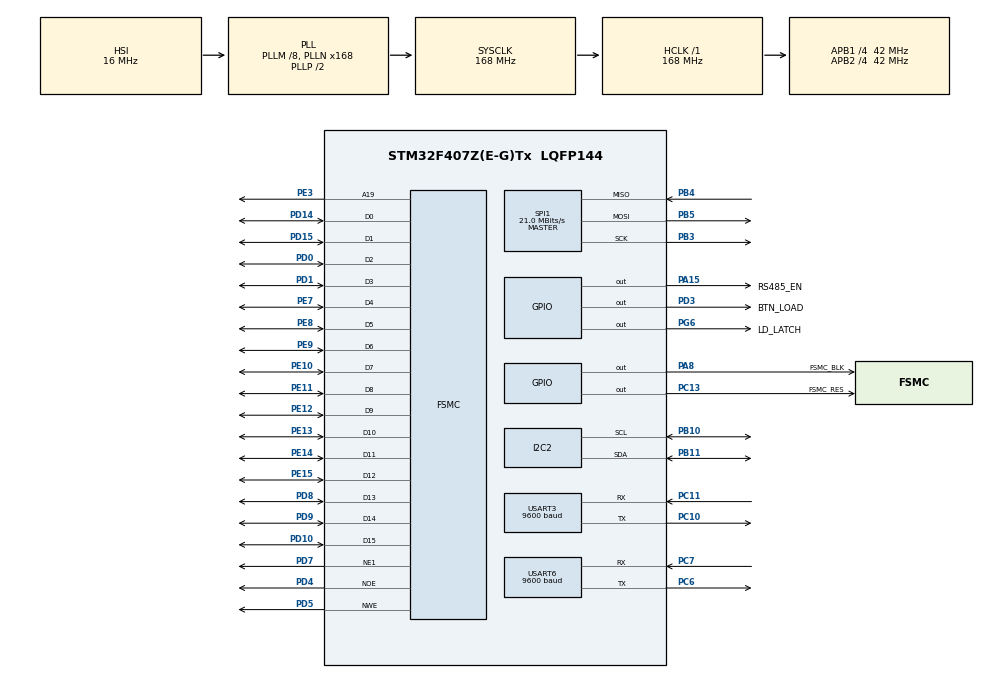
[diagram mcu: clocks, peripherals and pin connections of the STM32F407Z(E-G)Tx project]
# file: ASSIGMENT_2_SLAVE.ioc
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Dma.I2C2_RX.1.Direction=DMA_PERIPH_TO_MEMORY
Dma.I2C2_RX.1.FIFOMode=DMA_FIFOMODE_DISABLE
Dma.I2C2_RX.1.Instance=DMA1_Stream2
Dma.I2C2_RX.1.MemDataAlignment=DMA_MDATAALIGN_BYTE
Dma.I2C2_RX.1.MemInc=DMA_MINC_ENABLE
Dma.I2C2_RX.1.Mode=DMA_CIRCULAR
Dma.I2C2_RX.1.PeriphDataAlignment=DMA_PDATAALIGN_BYTE
Dma.I2C2_RX.1.PeriphInc=DMA_PINC_DISABLE
Dma.I2C2_RX.1.Priority=DMA_PRIORITY_HIGH
Dma.Request0=USART6_RX
Dma.Request1=I2C2_RX
Dma.USART6_RX.0.Direction=DMA_PERIPH_TO_MEMORY
Dma.USART6_RX.0.FIFOMode=DMA_FIFOMODE_DISABLE
Dma.USART6_RX.0.Instance=DMA2_Stream1
Dma.USART6_RX.0.MemDataAlignment=DMA_MDATAALIGN_BYTE
Dma.USART6_RX.0.MemInc=DMA_MINC_ENABLE
Dma.USART6_RX.0.Mode=DMA_CIRCULAR
Dma.USART6_RX.0.PeriphDataAlignment=DMA_PDATAALIGN_BYTE
Dma.USART6_RX.0.PeriphInc=DMA_PINC_DISABLE
Dma.USART6_RX.0.Priority=DMA_PRIORITY_LOW
FSMC.AddressSetupTime1=0xf
FSMC.BusTurnAroundDuration1=0
FSMC.DataSetupTime1=60
FSMC.ExtendedAddressSetupTime1=8
FSMC.ExtendedBusTurnAroundDuration1=0
FSMC.ExtendedDataSetupTime1=9
FSMC.ExtendedMode1=FSMC_EXTENDED_MODE_ENABLE
I2C2.OwnAddress=48
Mcu.Family=STM32F4
Mcu.Name=STM32F407Z(E-G)Tx
Mcu.Package=LQFP144
NVIC.DMA1_Stream2_IRQn=true\:0\:0\:false\:false\:true\:false\:true\:true
NVIC.DMA2_Stream1_IRQn=true\:0\:0\:false\:false\:true\:false\:true\:true
NVIC.I2C2_ER_IRQn=true\:0\:0\:false\:false\:true\:true\:true\:true
NVIC.I2C2_EV_IRQn=true\:0\:0\:false\:false\:true\:true\:true\:true
NVIC.PriorityGroup=NVIC_PRIORITYGROUP_4
NVIC.TIM2_IRQn=true\:0\:0\:false\:false\:true\:true\:true\:true
NVIC.USART3_IRQn=true\:0\:0\:false\:false\:true\:true\:true\:true
NVIC.USART6_IRQn=true\:0\:0\:false\:false\:true\:true\:true\:true
PA13.Mode=Serial_Wire
PA13.Signal=SYS_JTMS-SWDIO
PA14.Mode=Serial_Wire
PA14.Signal=SYS_JTCK-SWCLK
PA15.GPIO_Label=RS485_EN
PA15.Signal=GPIO_Output
PA8.GPIO_Label=FSMC_BLK
PA8.Signal=GPIO_Output
PB10.GPIO_Pu=GPIO_PULLUP
PB10.Mode=I2C
PB10.Signal=I2C2_SCL
PB11.GPIO_Pu=GPIO_PULLUP
PB11.Mode=I2C
PB11.Signal=I2C2_SDA
PB3.Mode=Full_Duplex_Master
PB3.Signal=SPI1_SCK
PB4.Mode=Full_Duplex_Master
PB4.Signal=SPI1_MISO
PB5.Mode=Full_Duplex_Master
PB5.Signal=SPI1_MOSI
PC10.Mode=Asynchronous
PC10.Signal=USART3_TX
PC11.Mode=Asynchronous
PC11.Signal=USART3_RX
PC13-ANTI_TAMP.GPIO_Label=FSMC_RES
PC13-ANTI_TAMP.Signal=GPIO_Output
PC6.Mode=Asynchronous
PC6.Signal=USART6_TX
PC7.Mode=Asynchronous
PC7.Signal=USART6_RX
PD0.Signal=FSMC_D2_DA2
PD1.Signal=FSMC_D3_DA3
PD10.Signal=FSMC_D15_DA15
PD14.Signal=FSMC_D0_DA0
PD15.Signal=FSMC_D1_DA1
PD3.GPIO_Label=BTN_LOAD
PD3.Signal=GPIO_Output
PD4.Signal=FSMC_NOE
PD5.Signal=FSMC_NWE
PD7.Mode=NorPsramChipSelect1_1
PD7.Signal=FSMC_NE1
PD8.Signal=FSMC_D13_DA13
PD9.Signal=FSMC_D14_DA14
PE10.Signal=FSMC_D7_DA7
PE11.Signal=FSMC_D8_DA8
PE12.Signal=FSMC_D9_DA9
PE13.Signal=FSMC_D10_DA10
PE14.Signal=FSMC_D11_DA11
PE15.Signal=FSMC_D12_DA12
PE3.Signal=FSMC_A19
PE7.Signal=FSMC_D4_DA4
PE8.Signal=FSMC_D5_DA5
PE9.Signal=FSMC_D6_DA6
PG6.GPIO_Label=LD_LATCH
PG6.Signal=GPIO_Output
PH0-OSC_IN.Mode=HSE-External-Oscillator
PH0-OSC_IN.Signal=RCC_OSC_IN
PH1-OSC_OUT.Mode=HSE-External-Oscillator
PH1-OSC_OUT.Signal=RCC_OSC_OUT
ProjectManager.HeapSize=0x200
ProjectManager.StackSize=0x400
ProjectManager.TargetToolchain=STM32CubeIDE
RCC.48MHZClocksFreq_Value=84000000
RCC.AHBFreq_Value=168000000
RCC.APB1CLKDivider=RCC_HCLK_DIV4
RCC.APB1Freq_Value=42000000
RCC.APB1TimFreq_Value=84000000
RCC.APB2CLKDivider=RCC_HCLK_DIV4
RCC.APB2Freq_Value=42000000
RCC.APB2TimFreq_Value=84000000
RCC.CortexFreq_Value=168000000
RCC.HCLKFreq_Value=168000000
RCC.HSE_VALUE=25000000
RCC.HSI_VALUE=16000000
RCC.LSE_VALUE=32768
RCC.PLLM=8
RCC.PLLN=168
RCC.SYSCLKFreq_VALUE=168000000
RCC.SYSCLKSource=RCC_SYSCLKSOURCE_PLLCLK
RCC.VCOOutputFreq_Value=336000000
SH.FSMC_A19.0=FSMC_A19,A19_1
SH.FSMC_D0_DA0.0=FSMC_D0,16b-d1
SH.FSMC_D10_DA10.0=FSMC_D10,16b-d1
SH.FSMC_D11_DA11.0=FSMC_D11,16b-d1
SH.FSMC_D12_DA12.0=FSMC_D12,16b-d1
SH.FSMC_D13_DA13.0=FSMC_D13,16b-d1
SH.FSMC_D14_DA14.0=FSMC_D14,16b-d1
SH.FSMC_D15_DA15.0=FSMC_D15,16b-d1
SH.FSMC_D1_DA1.0=FSMC_D1,16b-d1
SH.FSMC_D2_DA2.0=FSMC_D2,16b-d1
SH.FSMC_D3_DA3.0=FSMC_D3,16b-d1
SH.FSMC_D4_DA4.0=FSMC_D4,16b-d1
SH.FSMC_D5_DA5.0=FSMC_D5,16b-d1
SH.FSMC_D6_DA6.0=FSMC_D6,16b-d1
SH.FSMC_D7_DA7.0=FSMC_D7,16b-d1
SH.FSMC_D8_DA8.0=FSMC_D8,16b-d1
SH.FSMC_D9_DA9.0=FSMC_D9,16b-d1
SH.FSMC_NOE.0=FSMC_NOE,Lcd1
SH.FSMC_NWE.0=FSMC_NWE,Lcd1
SPI1.CalculateBaudRate=21.0 MBits/s
SPI1.Direction=SPI_DIRECTION_2LINES
SPI1.Mode=SPI_MODE_MASTER
SPI1.VirtualType=VM_MASTER
TIM2.Prescaler=839
USART3.BaudRate=9600
USART3.VirtualMode=VM_ASYNC
USART6.BaudRate=9600
USART6.VirtualMode=VM_ASYNC
VP_TIM2_VS_ClockSourceINT.Mode=Internal
board=custom

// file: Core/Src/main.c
	/* USER CODE BEGIN Header */
/**
  ******************************************************************************
  * @file           : main.c
  * @brief          : Main program body
  ******************************************************************************
  * @attention
  *
  * Copyright (c) 2026 STMicroelectronics.
  * All rights reserved.
  *
  * This software is licensed under terms that can be found in the LICENSE file
  * in the root directory of this software component.
  * If no LICENSE file comes with this software, it is provided AS-IS.
  *
  ******************************************************************************
  */
/* USER CODE END Header */
#include "main.h"
#include "dma.h"
#include "i2c.h"
#include "spi.h"
#include "tim.h"
#include "usart.h"
#include "gpio.h"
#include "fsmc.h"

/* USER CODE BEGIN Includes */
#include "bkit_config.h"
#include "hw_driver.h"
#include "lcd.h"
#include <stdio.h>
#include "bkit_app.h"
/* USER CODE END Includes */

void SystemClock_Config(void);

int main(void)
{

  /* MCU Configuration--------------------------------------------------------*/

  /* Reset of all peripherals, Initializes the Flash interface and the Systick. */
  HAL_Init();

  /* Configure the system clock */
  SystemClock_Config();

  /* Initialize all configured peripherals */
  MX_GPIO_Init();
  MX_DMA_Init();
  MX_USART3_UART_Init();
  MX_FSMC_Init();
  MX_SPI1_Init();
  MX_TIM2_Init();
  MX_I2C2_Init();
  MX_USART6_UART_Init();
  /* USER CODE BEGIN 2 */
  hw_init();

  lcd_init();
    lcd_clear(BLACK);

    lcd_show_string(10, 10,  "=== IoT SLAVE ===", GREEN, BLACK, 24, 0);

    //MODE
    #if (BKIT_PHY_INTERFACE == PHY_UART)
        lcd_show_string(10, 45,  "Link: UART (Active)", CYAN, BLACK, 16, 0);
    #else
        lcd_show_string(10, 45,  "Link: I2C (Active) ", CYAN, BLACK, 16, 0);
    #endif

    lcd_show_string(10, 100, "DEVICE TELEMETRY:", YELLOW, BLACK, 16, 0);
  /* USER CODE END 2 */

  /* Infinite loop */
  /* USER CODE BEGIN WHILE */
  while (1)
  {
	  sensor_data_t received_data;

	        if (bkit_receive_message(&received_data)) {
	            char buf[64];

	            // ID
	            sprintf(buf, "Node ID  : %lu   ", received_data.sensor_id);
	            lcd_show_string(20, 125, buf, WHITE, BLACK, 24, 0);

	            // NHIET DO
	            sprintf(buf, "Temp : %.2f C ", received_data.temperature);
	            lcd_show_string(20, 155, buf, RED, BLACK, 24, 0);

	            // THOI GIAN
	            sprintf(buf, "Time : %lu ms ", received_data.timestamp);
	            lcd_show_string(20, 185, buf, GRAY, BLACK, 16, 0);

	            // Nếu có humidity:
	            // sprintf(buf, "Humi     : %.1f %% ", received_data.humidity);
	            // lcd_show_string(20, 215, buf, BLUE, BLACK, 24, 0);

	            // EFFECT
	            lcd_show_string(200, 10, "*", RED, BLACK, 24, 0);
	            HAL_Delay(50);
	            lcd_show_string(200, 10, " ", BLACK, BLACK, 24, 0);
	        }
	        else {

	        }
    /* USER CODE END WHILE */

  }
}

void SystemClock_Config(void)
{
  RCC_OscInitTypeDef RCC_OscInitStruct = {0};
  RCC_ClkInitTypeDef RCC_ClkInitStruct = {0};

  /** Configure the main internal regulator output voltage
  */
  __HAL_RCC_PWR_CLK_ENABLE();
  __HAL_PWR_VOLTAGESCALING_CONFIG(PWR_REGULATOR_VOLTAGE_SCALE1);

  /** Initializes the RCC Oscillators according to the specified parameters
  * in the RCC_OscInitTypeDef structure.
  */
  RCC_OscInitStruct.OscillatorType = RCC_OSCILLATORTYPE_HSI;
  RCC_OscInitStruct.HSIState = RCC_HSI_ON;
  RCC_OscInitStruct.HSICalibrationValue = RCC_HSICALIBRATION_DEFAULT;
  RCC_OscInitStruct.PLL.PLLState = RCC_PLL_ON;
  RCC_OscInitStruct.PLL.PLLSource = RCC_PLLSOURCE_HSI;
  RCC_OscInitStruct.PLL.PLLM = 8;
  RCC_OscInitStruct.PLL.PLLN = 168;
  RCC_OscInitStruct.PLL.PLLP = RCC_PLLP_DIV2;
  RCC_OscInitStruct.PLL.PLLQ = 4;
  if (HAL_RCC_OscConfig(&RCC_OscInitStruct) != HAL_OK)
  {
    Error_Handler();
  }

  /** Initializes the CPU, AHB and APB buses clocks
  */
  RCC_ClkInitStruct.ClockType = RCC_CLOCKTYPE_HCLK|RCC_CLOCKTYPE_SYSCLK
                              |RCC_CLOCKTYPE_PCLK1|RCC_CLOCKTYPE_PCLK2;
  RCC_ClkInitStruct.SYSCLKSource = RCC_SYSCLKSOURCE_PLLCLK;
  RCC_ClkInitStruct.AHBCLKDivider = RCC_SYSCLK_DIV1;
  RCC_ClkInitStruct.APB1CLKDivider = RCC_HCLK_DIV4;
  RCC_ClkInitStruct.APB2CLKDivider = RCC_HCLK_DIV4;

  if (HAL_RCC_ClockConfig(&RCC_ClkInitStruct, FLASH_LATENCY_5) != HAL_OK)
  {
    Error_Handler();
  }
}

/* USER CODE BEGIN 4 */
extern DMA_HandleTypeDef hdma_usart6_rx; // Khai báo extern để dùng handle
extern UART_HandleTypeDef huart6;
extern I2C_HandleTypeDef hi2c2;
extern volatile uint16_t rx_tail;// new

// Buffer và biến nằm bên hw_driver.c, ta cần extern để truy cập
// (Hoặc tốt nhất là include hw_driver.h và đảm bảo biến dma_rx_buffer được chia sẻ)
// Để đơn giản test, bạn khai báo lại biến extern ở đây:
#define RX_BUFFER_SIZE 256
extern uint8_t dma_rx_buffer[RX_BUFFER_SIZE];

// 1. XỬ LÝ LỖI UART
void HAL_UART_ErrorCallback(UART_HandleTypeDef *huart) {
    if (huart->Instance == USART6) {
        __HAL_UART_CLEAR_OREFLAG(huart);
        __HAL_UART_CLEAR_NEFLAG(huart);
        __HAL_UART_CLEAR_FEFLAG(huart);
        __HAL_UART_CLEAR_PEFLAG(huart);
        HAL_UART_Receive_DMA(&huart6, (uint8_t*)dma_rx_buffer, RX_BUFFER_SIZE);
    }
}

/* --- CÁC CALLBACK QUAN TRỌNG CỦA I2C SLAVE --- */

// 1. Khi Master gọi đúng tên -> BẮT ĐẦU NHẬN
void HAL_I2C_AddrCallback(I2C_HandleTypeDef *hi2c, uint8_t TransferDirection, uint16_t AddrMatchCode) {
    if (hi2c->Instance == I2C2) {
        // [QUAN TRỌNG] Reset vị trí đọc về 0 vì DMA I2C luôn ghi từ đầu buffer
        rx_tail = 0;

        // Mở cửa DMA để hứng dữ liệu
        HAL_I2C_Slave_Receive_DMA(&hi2c2, (uint8_t*)dma_rx_buffer, RX_BUFFER_SIZE);
    }
}

// 2. Khi Master gửi xong và phát xung STOP (Hoặc Slave buffer đầy)
void HAL_I2C_SlaveRxCpltCallback(I2C_HandleTypeDef *hi2c) {
    if (hi2c->Instance == I2C2) {
        // Nhận xong gói này rồi. Master đã STOP.
        // Slave quay lại trạng thái "Lắng nghe" để chờ lần gọi tên tiếp theo
        HAL_I2C_EnableListen_IT(&hi2c2);
    }
}

// 3. Khi có lỗi (Nhiễu, Bus Error) -> Reset về Listen
void HAL_I2C_ErrorCallback(I2C_HandleTypeDef *hi2c) {
    if (hi2c->Instance == I2C2) {
        // Reset lại I2C nếu cần (Optional: __HAL_I2C_RESET_HANDLE_STATE(hi2c));
        HAL_I2C_EnableListen_IT(&hi2c2);
    }
}

// 4. Bắt buộc: Xử lý sự kiện Listen Complete (khi Master NACK hoặc Stop đột ngột)
void HAL_I2C_ListenCpltCallback(I2C_HandleTypeDef *hi2c) {
    if (hi2c->Instance == I2C2) {
        // Đảm bảo luôn quay về trạng thái nghe
        HAL_I2C_EnableListen_IT(&hi2c2);
    }
}

/* USER CODE END 4 */

void Error_Handler(void)
{
  __disable_irq();
  while (1)
  {
  }
}
